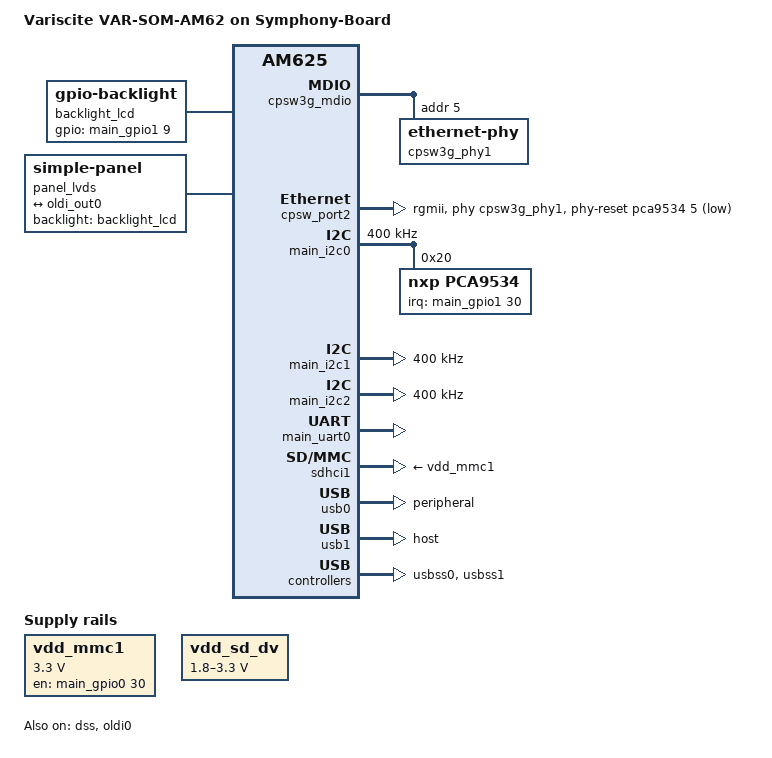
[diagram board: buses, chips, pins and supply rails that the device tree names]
// SPDX-License-Identifier: GPL-2.0
/*
 * VAR-SOM-AM62
 *
 * Copyright (C) 2021-2022 Texas Instruments Incorporated - https://www.ti.com/
 * Copyright (C) 2023-2026 Variscite Ltd. - https://www.variscite.com/
 */

/dts-v1/;

#include "k3-am625-var-som.dtsi"

/ {
	compatible =  "ti,am625-sk", "ti,am625";
	model = "Variscite VAR-SOM-AM62 on Symphony-Board";

	backlight_lcd: backlight-lcd {
		compatible = "gpio-backlight";
		pinctrl-names = "default";
		pinctrl-0 = <&lcd_backlight_pins_default>;
		gpios = <&main_gpio1 9 GPIO_ACTIVE_HIGH>;
		default-on;
	};

	chosen {
		#address-cells = <2>;
		#size-cells = <2>;
		ranges;

		stdout-path = "serial2:115200n8";
	};

	panel_lvds: panel-lvds {
		bootph-pre-ram;
		compatible = "simple-panel";
		status= "okay";
		backlight = <&backlight_lcd>;
		width-mm = <153>;
		height-mm = <86>;
		data-mapping = "jeida-24";

		panel-timing {
			bootph-pre-ram;
			clock-frequency = <30000>;
			hactive = <800>;
			vactive = <480>;
			hback-porch = <40>;
			hfront-porch = <40>;
			vback-porch = <29>;
			vfront-porch = <13>;
			hsync-len = <48>;
			vsync-len = <3>;
			de-active = <1>;
		};

		ports {
			#address-cells = <1>;
			#size-cells = <0>;

			port@0 {
				reg = <0>;
				lcd_in0: endpoint {
					remote-endpoint = <&oldi_out0>;
				};
			};
		};
	};

	vdd_mmc1: regulator-3 {
		bootph-all;
		compatible = "regulator-fixed";
		regulator-name = "SD_power_en";
		pinctrl-names = "default";
		pinctrl-0 = <&vdd_mmc1_pins_default>;
		regulator-min-microvolt = <3300000>;
		regulator-max-microvolt = <3300000>;
		regulator-boot-on;
		enable-active-high;
		gpio = <&main_gpio0 30 GPIO_ACTIVE_HIGH>;
	};

	vdd_sd_dv: gpio-regulator-4 {
		bootph-all;
		compatible = "regulator-gpio";
		regulator-name = "SD_voltage_sel";
		pinctrl-names = "default";
		pinctrl-0 = <&vdd_sd_dv_pins_default>;
		regulator-min-microvolt = <1800000>;
		regulator-max-microvolt = <3300000>;
		regulator-boot-on;
		gpios = <&main_gpio0 56 GPIO_ACTIVE_HIGH>;
		states = <1800000 0x0>,
			 <3300000 0x1>;
	};
};

&cpsw3g_mdio {
	cpsw3g_phy1: ethernet-phy@5 {
		reg = <5>;
	};
};

&cpsw_port2 {
	status = "okay";
	phy-mode = "rgmii";
	phy-handle = <&cpsw3g_phy1>;
	phy-reset-gpios = <&pca9534 5 GPIO_ACTIVE_LOW>;
	phy-reset-duration = <10>;
	phy-reset-post-delay = <20>;
};

&dss {
	bootph-all;
	status = "okay";
};

&dss_ports {
	#address-cells = <1>;
	#size-cells = <0>;

	/* VP1: LVDS Output (OLDI TX 0) */
	port@0 {
		reg = <0>;
		#address-cells = <1>;
		#size-cells = <0>;

		oldi_out0: endpoint@0 {
			reg = <0>;
			remote-endpoint = <&oldi_0_in>;
		};
	};
};

&main_i2c0 {
	status = "okay";
	pinctrl-names = "default";
	pinctrl-0 = <&main_i2c0_pins_default>;
	clock-frequency = <400000>;

	/* GPIO expander */
	pca9534: gpio@20 {
		compatible = "nxp,pca9534";
		reg = <0x20>;
		gpio-controller;
		pinctrl-names = "default";
		interrupt-parent = <&main_gpio1>;
		interrupts = <30 IRQ_TYPE_EDGE_FALLING>;
		#gpio-cells = <2>;
		wakeup-source;
		status = "okay";

		usb3_sel_hog {
			gpio-hog;
			gpios = <4 GPIO_ACTIVE_HIGH>;
			output-low;
			line-name = "usb3_sel";
		};

		eth_som_vselect_hog {
			gpio-hog;
			gpios = <6 GPIO_ACTIVE_HIGH>;
			output-low;
			line-name = "eth-vselect";
		};

		eth_mdio_enable_hog {
			gpio-hog;
			gpios = <7 GPIO_ACTIVE_HIGH>;
			output-high;
			line-name = "eth-mdio-enable";
		};
	};
};

&main_i2c1 {
	status = "okay";
	pinctrl-names = "default";
	pinctrl-0 = <&main_i2c1_pins_default>;
	clock-frequency = <400000>;
};

&main_i2c2 {
	status = "okay";
	pinctrl-names = "default";
	pinctrl-0 = <&main_i2c2_pins_default>;
	clock-frequency = <400000>;
};

&main_pmx0 {
	lcd_backlight_pins_default: lcd-backlight-default-pins {
		pinctrl-single,pins = <
			AM62X_IOPAD(0x19c, PIN_INPUT_PULLUP, 0) /* (B18) GPIO_1_9 */
		>;
	};

	main_i2c0_pins_default: main-i2c0-default-pins {
		pinctrl-single,pins = <
			AM62X_IOPAD(0x1e0, PIN_INPUT_PULLUP, 0) /* (B16) I2C0_SCL */
			AM62X_IOPAD(0x1e4, PIN_INPUT_PULLUP, 0) /* (A16) I2C0_SDA */
		>;
	};

	main_i2c1_pins_default: main-i2c1-default-pins {
		pinctrl-single,pins = <
			AM62X_IOPAD(0x1e8, PIN_INPUT_PULLUP, 0) /* (B17) I2C1_SCL */
			AM62X_IOPAD(0x1ec, PIN_INPUT_PULLUP, 0) /* (A17) I2C1_SDA */
		>;
	};

	main_i2c2_pins_default: main-i2c2-default-pins {
		pinctrl-single,pins = <
			AM62X_IOPAD(0x0b0, PIN_INPUT_PULLUP, 1) /* (K22) GPMC0_CSn2.I2C2_SCL */
			AM62X_IOPAD(0x0b4, PIN_INPUT_PULLUP, 1) /* (K24) GPMC0_CSn3.I2C2_SDA */
		>;
	};

	main_mmc1_pins_default: main-mmc1-default-pins {
		bootph-all;
		pinctrl-single,pins = <
			AM62X_IOPAD(0x23c, PIN_INPUT, 0) /* (A21) MMC1_CMD */
			AM62X_IOPAD(0x234, PIN_INPUT, 0) /* (B22) MMC1_CLK */
			AM62X_IOPAD(0x230, PIN_INPUT, 0) /* (A22) MMC1_DAT0 */
			AM62X_IOPAD(0x22c, PIN_INPUT, 0) /* (B21) MMC1_DAT1 */
			AM62X_IOPAD(0x228, PIN_INPUT, 0) /* (C21) MMC1_DAT2 */
			AM62X_IOPAD(0x224, PIN_INPUT, 0) /* (D22) MMC1_DAT3 */
			AM62X_IOPAD(0x240, PIN_INPUT, 0) /* (D17) MMC1_SDCD */
		>;
	};

	/* First pad number is ALW package and second is AMC package */
	main_uart0_pins_default: main-uart0-default-pins {
		bootph-all;
		pinctrl-single,pins = <
			AM62X_IOPAD(0x1c8, PIN_INPUT, 0) /* (D14) UART0_RXD */
			AM62X_IOPAD(0x1cc, PIN_OUTPUT, 0) /* (E14) UART0_TXD */
		>;
	};

	main_usb1_pins_default: main-usb1-default-pins {
		pinctrl-single,pins = <
			AM62X_IOPAD(0x0258, PIN_OUTPUT | PIN_DS_PULLUD_ENABLE | PIN_DS_PULL_UP, 0) /* (F18) USB1_DRVVBUS */
		>;
	};

	vdd_mmc1_pins_default: vdd-mmc1-default-pins {
		pinctrl-single,pins = <
			AM62X_IOPAD(0x0078, PIN_OUTPUT, 7) /* (U24) GPMC0_AD15.GPIO0_30 */
		>;
	};

	vdd_sd_dv_pins_default: vdd-sd-dv-default-pins {
		pinctrl-single,pins = <
			AM62X_IOPAD(0x00e4, PIN_OUTPUT, 7) /* (AA23) VOUT0_DATA11.GPIO0_56 */
		>;
	};
};

&main_uart0 {
	bootph-all;
	status = "okay";
	pinctrl-names = "default";
	pinctrl-0 = <&main_uart0_pins_default>;
	interrupts-extended = <&gic500 GIC_SPI 178 IRQ_TYPE_LEVEL_HIGH>,
			       <&main_pmx0 0x1c8>; /* (D14) UART0_RXD PADCONFIG114 */
	interrupt-names = "irq", "wakeup";
};

&main_uart1 {
	/* Main UART1 is used by TIFS firmware */
	status = "reserved";
};

&mcu_i2c0 {
	status = "disabled";
};

&mcu_pmx0 {
	wkup_uart0_pins_default: wkup-uart0-default-pins {
		bootph-pre-ram;
		pinctrl-single,pins = <
			AM62X_MCU_IOPAD(0x02c, PIN_INPUT, 0) /* (C6) WKUP_UART0_CTSn */
			AM62X_MCU_IOPAD(0x030, PIN_OUTPUT, 0) /* (A4) WKUP_UART0_RTSn */
			AM62X_MCU_IOPAD(0x024, PIN_INPUT, 0) /* (B4) WKUP_UART0_RXD */
			AM62X_MCU_IOPAD(0x028, PIN_OUTPUT, 0) /* (C5) WKUP_UART0_TXD */
		>;
	};
};

&oldi0 {
	status = "okay";
};

&oldi0_ports {
	#address-cells = <1>;
	#size-cells = <0>;

	port@0 {
		reg = <0>;
		oldi_0_in: endpoint {
			remote-endpoint = <&oldi_out0>;
		};
	};

	port@1 {
		reg = <1>;
		oldi_0_out: endpoint {
			remote-endpoint = <&lcd_in0>;
		};
	};
};

/* SD card */
&sdhci1 {
	bootph-all;
	status = "okay";
	vmmc-supply = <&vdd_mmc1>;
	vqmmc-supply = <&vdd_sd_dv>;
	pinctrl-names = "default";
	pinctrl-0 = <&main_mmc1_pins_default>;
	disable-wp;
};

&usb0 {
	dr_mode = "peripheral";
};

&usb1 {
	dr_mode = "host";
	pinctrl-names = "default";
	pinctrl-0 = <&main_usb1_pins_default>;
};

&usbss0 {
	bootph-all;
	status = "okay";
	ti,vbus-divider;
};

&usbss1 {
	status = "okay";
	ti,vbus-divider;
};

&wkup_i2c0 {
	status = "disabled";
};

&wkup_uart0 {
	/* WKUP UART0 is used by DM firmware */
	bootph-pre-ram;
	status = "reserved";
	pinctrl-names = "default";
	pinctrl-0 = <&wkup_uart0_pins_default>;
};
